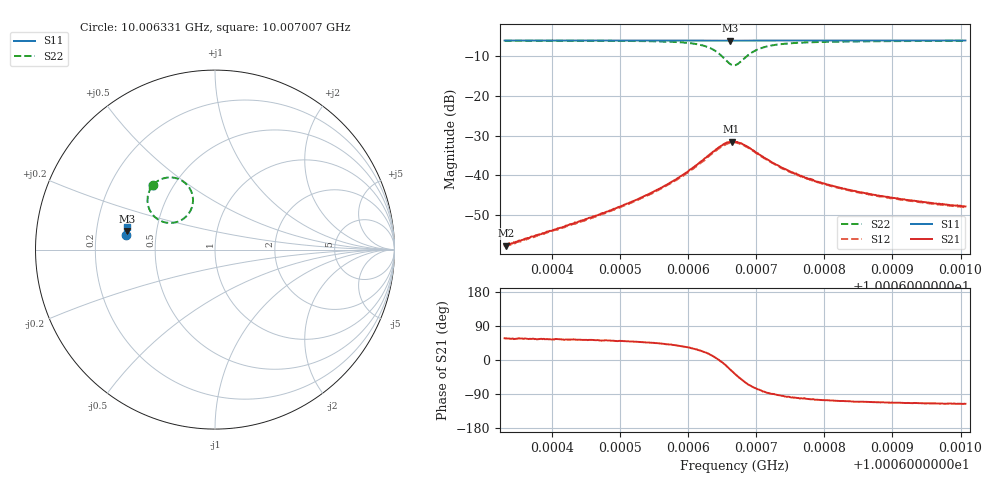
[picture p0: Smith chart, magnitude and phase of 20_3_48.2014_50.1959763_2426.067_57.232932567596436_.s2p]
#  HZ  S  RI  R  50.00
! Rohde & Schwarz Vector Network Analyzer
! Rohde-Schwarz,ZNB20-2Port,1311601062101988,3.16
! Created: UTC 3/20/2024, 11:36:55 AM
! freq[Hz]  re:S11  im:S11  re:S21  im:S21  re:S12  im:S12  re:S22  im:S22
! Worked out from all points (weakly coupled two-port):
!   401 points, 10.006331 GHz to 10.007007 GHz, reference 50 ohm
!   highest |S21| = -31.48 dB at 10.006664 GHz (marker M1); lowest = -57.7 dB at 10.006332 GHz (marker M2)
!   lowest |S11| = -6.0 dB at 10.006662 GHz (marker M3), VSWR 3.00, Z = 16.8 + j4.68 ohm
!   |S11| at or under -10 dB: nowhere
!   |S22| runs from -12.2 to -6.0 dB; largest |S21 - S12| = 0.002
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1.00063307e10  -0.4952 0.0835  0.000701 0.00109  0.000643 0.0011  -0.3452 0.3619
1.00063323e10  -0.4953 0.0837  0.000706 0.00109  0.000651 0.00113  -0.3452 0.3621
1.0006444e10  -0.494 0.091  0.00161 0.00215  0.00147 0.00218  -0.3297 0.375
1.00065116e10  -0.4932 0.0955  0.00287 0.00335  0.00266 0.00338  -0.3117 0.3866
1.00065573e10  -0.4926 0.0987  0.00483 0.00467  0.00451 0.00476  -0.2882 0.3966
1.00065945e10  -0.4921 0.1012  0.00852 0.00599  0.00797 0.00621  -0.2494 0.4023
1.00066249e10  -0.4908 0.1032  0.0154 0.00571  0.0146 0.00608  -0.1854 0.3848
1.00066368e10  -0.4904 0.1039  0.0195 0.00343  0.0187 0.00425  -0.1512 0.3556
1.00066486e10  -0.4897 0.1043  0.0235 -0.00174  0.0228 -0.000495  -0.1249 0.2998
1.00066621e10  -0.4891 0.1042  0.0238 -0.0113  0.0239 -0.00953  -0.1402 0.2105
1.00066638e10  -0.4891 0.1042  0.0234 -0.0127  0.0234 -0.0108  -0.1472 0.2
1.00066689e10  -0.4893 0.1041  0.0212 -0.016  0.0217 -0.014  -0.1735 0.1736
1.0006674e10  -0.4894 0.1041  0.0183 -0.0183  0.0191 -0.0167  -0.2052 0.1562
1.00066841e10  -0.4897 0.1043  0.012 -0.0204  0.013 -0.0193  -0.2688 0.1497
1.00066976e10  -0.4904 0.1052  0.00571 -0.0192  0.00669 -0.0186  -0.3273 0.1751
1.00067112e10  -0.4907 0.1062  0.00195 -0.0167  0.00285 -0.0163  -0.3569 0.2077
1.00067348e10  -0.4908 0.1079  -0.000764 -0.0129  -0.000163 -0.0126  -0.374 0.2518
1.00067534e10  -0.4906 0.1095  -0.00155 -0.0108  -0.00119 -0.0106  -0.3762 0.275
1.00067822e10  -0.4905 0.1115  -0.00208 -0.00856  -0.00161 -0.00845  -0.3741 0.2982
1.00068397e10  -0.4897 0.1154  -0.00215 -0.00608  -0.00177 -0.00606  -0.3665 0.324
1.00068955e10  -0.4891 0.1191  -0.00202 -0.00487  -0.00174 -0.00486  -0.3597 0.3377
1.00070071e10  -0.4875 0.126  -0.00174 -0.00364  -0.00157 -0.00361  -0.3493 0.3539
